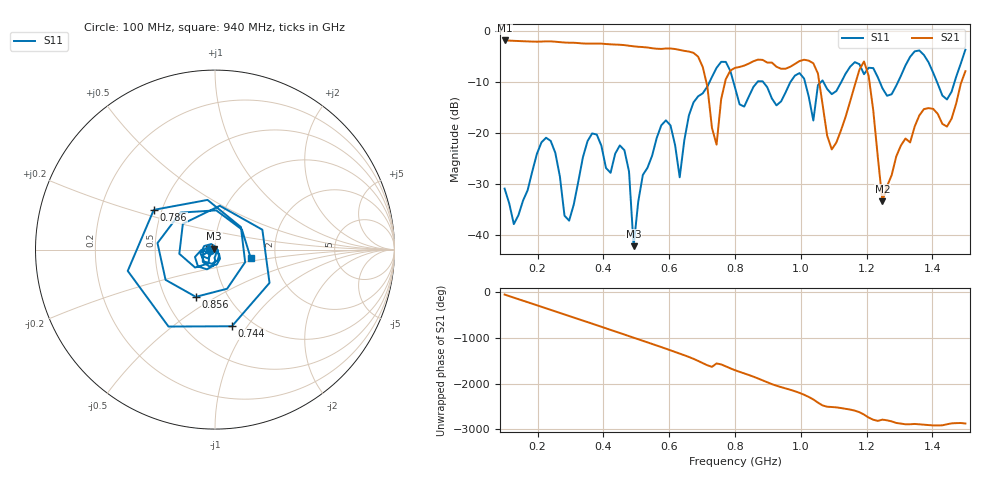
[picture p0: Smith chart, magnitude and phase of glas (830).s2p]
! NanoVNA-App
! Date: 2025-09-25 16:01:56
! Start: 100MHz Stop: 1,5GHz Points: 101
! S-Parameter data: F S11 S21 S12 S22
# Hz S RI R 50
!  Frequency  S11_Real  S11_Imag  S21_Real  S21_Imag  S12_Real  S12_Imag  S22_Real  S22_Imag
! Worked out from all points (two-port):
!   101 points, 100 MHz to 1.5 GHz, reference 50 ohm
!   highest |S21| = -1.80 dB at 100 MHz (marker M1); lowest = -33.4 dB at 1.248 GHz (marker M2)
!   |S21| within 3 dB of the highest: start of sweep to 684.3 MHz
!   lowest |S11| = -42.2 dB at 492 MHz (marker M3), VSWR 1.02, Z = 49.5 + j0.6 ohm
!   |S11| at or under -10 dB: start of sweep to 722.4 MHz; 795.4 MHz to 867.7 MHz (72.3 MHz wide, 8.69 % of centre); 886 MHz to 968.1 MHz (82.02 MHz wide, 8.85 % of centre) (the widest 3 of 7)
!   S12 and S22 are empty: the file has one direction only
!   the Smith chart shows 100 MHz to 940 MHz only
!   S11 on the Smith chart (normalised r, x): 100 MHz: 0.94, -0.01; 744 MHz: 0.81, -0.85; 786 MHz: 0.45, +0.24; 856 MHz: 0.71, -0.41; 940 MHz: 1.49, -0.15
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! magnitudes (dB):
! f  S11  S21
! 100 MHz  -30.9  -1.8
! 128 MHz  -37.9  -1.9
! 226 MHz  -20.9  -2.0
! 296 MHz  -37.2  -2.2
! 338 MHz  -24.7  -2.4
! 464 MHz  -23.4  -2.7
! 492 MHz  -42.2  -3.0
! 576 MHz  -18.5  -3.5
! 632 MHz  -28.7  -3.7
! 702 MHz  -12.2  -7.0
! 744 MHz  -7.2  -22.3
! 786 MHz  -7.8  -7.7
! 800 MHz  -11.1  -7.2
! 856 MHz  -10.9  -5.9
! 940 MHz  -13.8  -7.4
! 996 MHz  -8.2  -5.8
! 1.038 GHz  -17.5  -6.3
! 1.094 GHz  -12.4  -23.2
! 1.192 GHz  -8.4  -5.9
! 1.248 GHz  -11.2  -33.4
! 1.276 GHz  -12.4  -28.3
! 1.5 GHz  -3.6  -7.8
